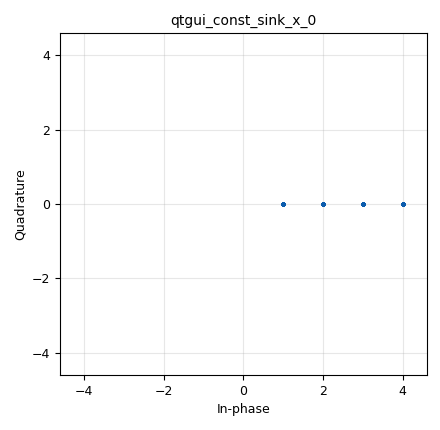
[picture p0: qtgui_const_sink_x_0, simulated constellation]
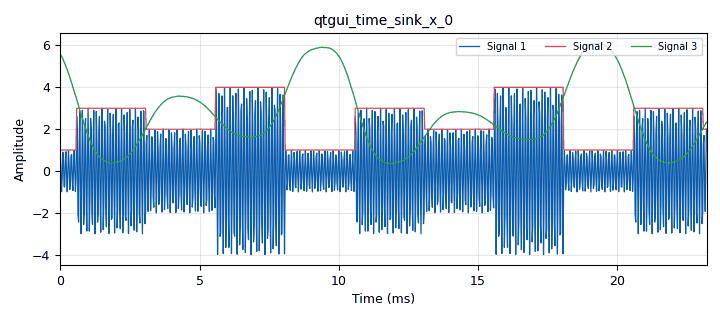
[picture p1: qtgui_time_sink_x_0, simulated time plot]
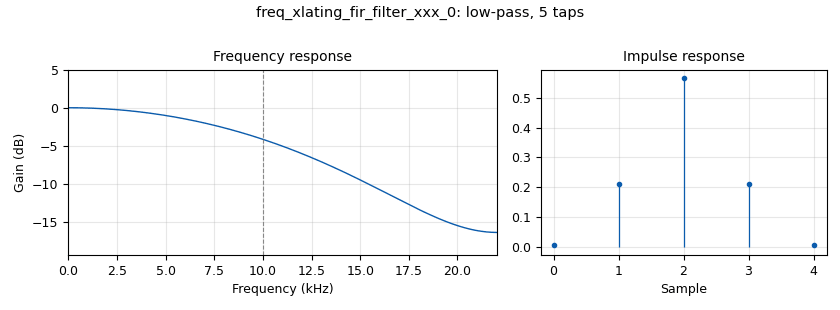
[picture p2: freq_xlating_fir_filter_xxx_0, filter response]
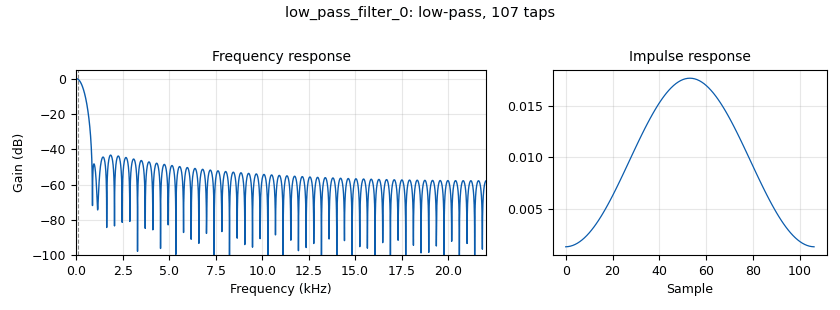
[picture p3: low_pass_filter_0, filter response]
options:
  parameters:
    generate_options: qt_gui
    id: AmplitudeShiftKeying
    output_language: python
    title: Amplitude Shift Keying
  states: {}

blocks:
- name: Glow
  id: variable_qtgui_range
  parameters:
    label: Low-pass filter gain
    orient: Qt.Horizontal
    start: '0.1'
    step: '0.1'
    stop: '100'
    value: '1'
  states: {}
- name: carrier_freq
  id: variable_qtgui_range
  parameters:
    orient: Qt.Horizontal
    start: '10000'
    step: '1'
    stop: '100000'
    value: '10000'
  states: {}
- name: filter_taps
  id: variable
  parameters:
    value: firdes.low_pass(1,samp_rate,carrier_freq,25000, firdes.WIN_HAMMING, 6.76)
  states: {}
- name: lf
  id: variable_qtgui_range
  parameters:
    label: Low-pass filter cut-off frequency
    orient: Qt.Horizontal
    start: '50'
    step: '1'
    stop: '200'
    value: '100'
  states: {}
- name: modulating_freq
  id: variable_qtgui_range
  parameters:
    orient: Qt.Horizontal
    start: '10'
    step: '1'
    stop: '1000'
    value: '100'
  states: {}
- name: noise
  id: variable_qtgui_range
  parameters:
    label: noise in [mV]
    orient: Qt.Horizontal
    start: '0'
    step: '1e-3'
    stop: '1'
    value: '0'
  states: {}
- name: samp_rate
  id: variable
  parameters:
    value: '44100'
  states: {}
- name: analog_sig_source_x_0
  id: analog_sig_source_x
  parameters:
    alias: Carrier
    amp: '1'
    freq: carrier_freq
    offset: '0'
    phase: '0'
    samp_rate: samp_rate
    type: float
    waveform: analog.GR_SIN_WAVE
  states: {}
- name: analog_sig_source_x_1
  id: analog_sig_source_x
  parameters:
    amp: '1'
    freq: modulating_freq
    offset: '0'
    phase: '0'
    samp_rate: samp_rate
    type: float
    waveform: analog.GR_SQR_WAVE
  states: {}
- name: analog_sig_source_x_1_0
  id: analog_sig_source_x
  parameters:
    amp: '1'
    freq: modulating_freq
    offset: '1'
    phase: '0'
    samp_rate: samp_rate
    type: float
    waveform: analog.GR_SQR_WAVE
  states: {state: disabled}
- name: analog_sig_source_x_1_1
  id: analog_sig_source_x
  parameters:
    amp: '2'
    freq: modulating_freq*2
    offset: '1'
    phase: '0'
    samp_rate: samp_rate
    type: float
    waveform: analog.GR_SQR_WAVE
  states: {}
- name: blocks_add_xx_0
  id: blocks_add_xx
  parameters:
    type: float
  states: {}
- name: blocks_complex_to_mag_squared_0
  id: blocks_complex_to_mag_squared
  parameters: {}
  states: {}
- name: blocks_float_to_complex_0
  id: blocks_float_to_complex
  parameters: {}
  states: {}
- name: blocks_float_to_complex_0_0
  id: blocks_float_to_complex
  parameters: {}
  states: {}
- name: blocks_multiply_xx_0
  id: blocks_multiply_xx
  parameters:
    type: float
  states: {}
- name: blocks_throttle_0
  id: blocks_throttle
  parameters:
    samples_per_second: samp_rate
    type: float
  states: {}
- name: channels_channel_model_0
  id: channels_channel_model
  parameters:
    epsilon: '1.0'
    freq_offset: '0.0'
    noise_voltage: noise
    seed: '0'
    taps: 1.0 + 1.0j
  states: {}
- name: digital_clock_recovery_mm_xx_0
  id: digital_clock_recovery_mm_xx
  parameters:
    gain_mu: '0.175'
    gain_omega: 0.25*0.175*0.175
    mu: '0.5'
    omega: '1'
    omega_relative_limit: '0.005'
    type: float
  states: {}
- name: freq_xlating_fir_filter_xxx_0
  id: freq_xlating_fir_filter_xxx
  parameters:
    center_freq: '0'
    decim: '1'
    samp_rate: samp_rate
    taps: filter_taps
    type: ccc
  states: {}
- name: low_pass_filter_0
  id: low_pass_filter
  parameters:
    cutoff_freq: lf
    decim: '1'
    gain: Glow
    samp_rate: samp_rate
    type: fir_filter_fff
    width: '1000'
    win: firdes.WIN_HAMMING
  states: {}
- name: qtgui_const_sink_x_0
  id: qtgui_const_sink_x
  parameters:
    autoscale: 'True'
    size: '1024'
    type: complex
  states: {}
- name: qtgui_time_sink_x_0
  id: qtgui_time_sink_x
  parameters:
    autoscale: 'True'
    nconnections: '3'
    size: '1024'
    srate: samp_rate
    type: float
  states: {}

connections:
- [analog_sig_source_x_0, '0', blocks_multiply_xx_0, '0']
- [analog_sig_source_x_1, '0', blocks_add_xx_0, '0']
- [analog_sig_source_x_1_1, '0', blocks_add_xx_0, '1']
- [blocks_add_xx_0, '0', blocks_float_to_complex_0_0, '0']
- [blocks_add_xx_0, '0', blocks_multiply_xx_0, '1']
- [blocks_add_xx_0, '0', qtgui_time_sink_x_0, '1']
- [blocks_complex_to_mag_squared_0, '0', digital_clock_recovery_mm_xx_0, '0']
- [blocks_float_to_complex_0, '0', channels_channel_model_0, '0']
- [blocks_float_to_complex_0_0, '0', qtgui_const_sink_x_0, '0']
- [blocks_multiply_xx_0, '0', blocks_throttle_0, '0']
- [blocks_multiply_xx_0, '0', qtgui_time_sink_x_0, '0']
- [blocks_throttle_0, '0', blocks_float_to_complex_0, '0']
- [channels_channel_model_0, '0', freq_xlating_fir_filter_xxx_0, '0']
- [digital_clock_recovery_mm_xx_0, '0', low_pass_filter_0, '0']
- [freq_xlating_fir_filter_xxx_0, '0', blocks_complex_to_mag_squared_0, '0']
- [low_pass_filter_0, '0', qtgui_time_sink_x_0, '2']

metadata:
  file_format: 1
